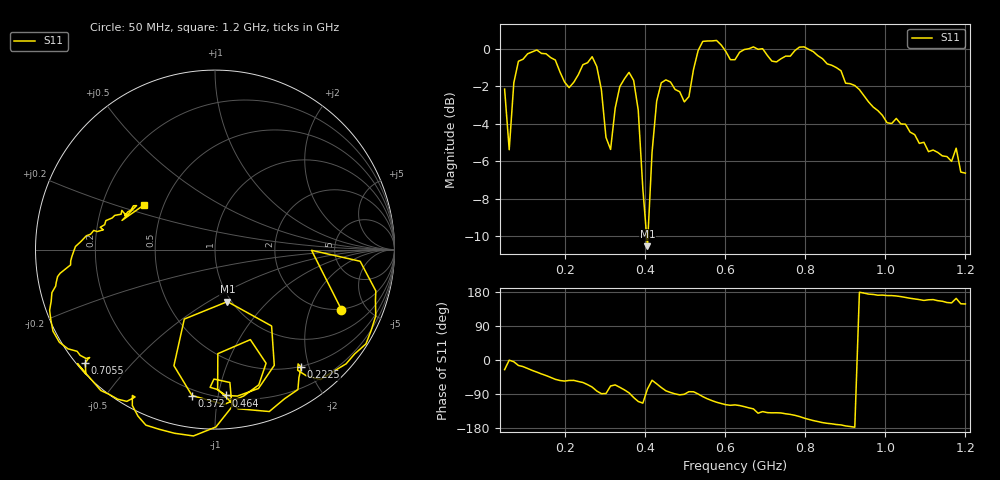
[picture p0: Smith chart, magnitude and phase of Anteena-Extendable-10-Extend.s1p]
# HZ S RI R 50
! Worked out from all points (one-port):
!   101 points, 50 MHz to 1.2 GHz, reference 50 ohm
!   lowest |S11| = -10.5 dB at 406.5 MHz (marker M1), VSWR 1.85, Z = 47.9 - j30.5 ohm
!   |S11| at or under -10 dB: 404.5 MHz to 407.7 MHz (3.157 MHz wide, 0.777 % of centre)
!   S11 on the Smith chart (normalised r, x): 50 MHz: 1.96, -3.36; 222.5 MHz: 0.48, -1.87; 372 MHz: 0.17, -0.84; 464 MHz: 0.22, -1.05; 705.5 MHz: 0.02, -0.38; 1.2 GHz: 0.39, +0.25
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5e7  0.7047 -0.3349
6.15e7  0.5379 -0.00405
7.3e7  0.8088 -0.065
1.075e8  0.8955 -0.3696
1.765e8  0.5874 -0.724
1.995e8  0.4606 -0.6721
2.225e8  0.4805 -0.656
2.685e8  0.3023 -0.9021
2.915e8  0.0148 -0.7778
3.145e8  0.1969 -0.5016
3.375e8  0.244 -0.7535
3.72e8  -0.1281 -0.8132
3.95e8  -0.171 -0.387
4.065e8  0.0689 -0.2898
4.18e8  0.3153 -0.4256
4.295e8  0.3303 -0.6448
4.64e8  0.0611 -0.8124
4.87e8  -0.0272 -0.7671
5.215e8  0.0948 -0.8753
5.445e8  -0.12 -1.038
5.79e8  -0.3849 -0.9781
6.25e8  -0.4453 -0.8212
6.825e8  -0.7667 -0.635
7.055e8  -0.7227 -0.6315
7.745e8  -0.8191 -0.5528
9.125e8  -0.8039 -0.0626
1.062e9  -0.5727 0.1764
1.2e9  -0.3947 0.2479
